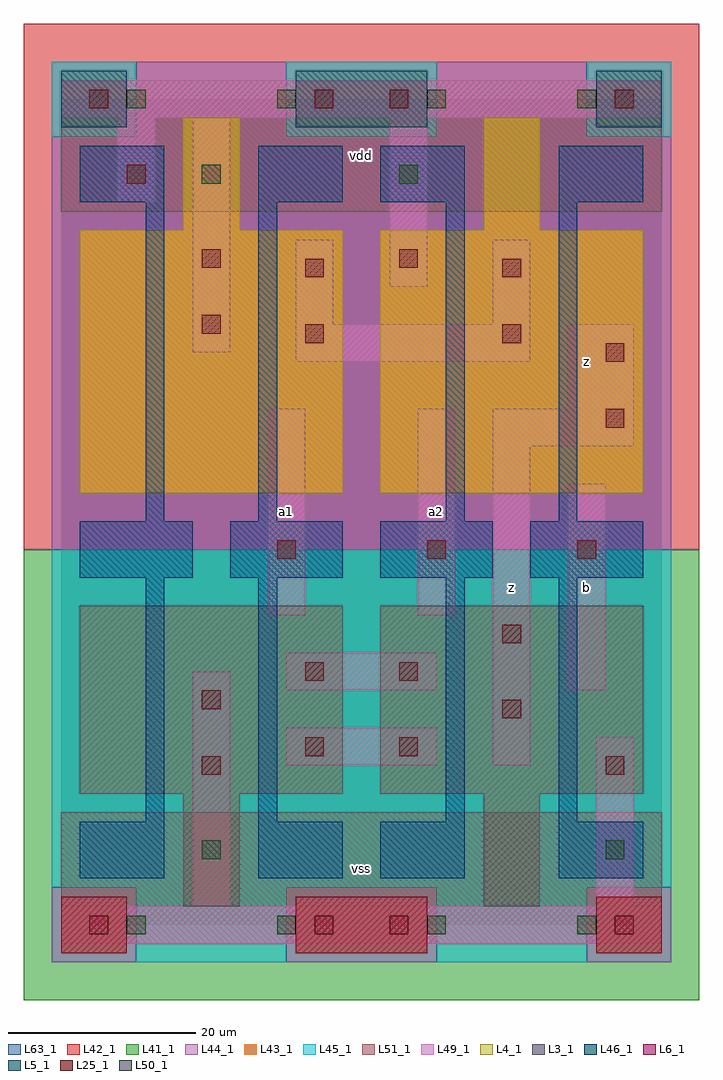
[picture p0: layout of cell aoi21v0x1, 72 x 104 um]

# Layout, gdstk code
import gdstk
lib = gdstk.Library(unit=1e-6, precision=1e-09)
def R(c, l, rs):  # rectangles x0, y0, x1, y1
    for r in rs: c.add(gdstk.rectangle(r[:2], r[2:], *l))
def A(c, l, x, y, w, h, nx, ny, dx, dy):  # array of equal rectangles
    R(c, l, [(x+i*dx, y+j*dy, x+i*dx+w, y+j*dy+h) for i in range(nx) for j in range(ny)])
L3_1 = (3, 1)
L4_1 = (4, 1)
L5_1 = (5, 1)
L6_1 = (6, 1)
L25_1 = (25, 1)
L41_1 = (41, 1)
L42_1 = (42, 1)
L43_1 = (43, 1)
L44_1 = (44, 1)
L45_1 = (45, 1)
L46_1 = (46, 1)
L49_1 = (49, 1)
L50_1 = (50, 1)
L51_1 = (51, 1)
L63_1 = (63, 1)

aoi21v0x1 = lib.new_cell('aoi21v0x1')
R(aoi21v0x1, L3_1, [(13,2,19,14), (45,2,51,14), (2,14,30,34), (34,14,62,34)])
R(aoi21v0x1, L4_1, [(2,46,30,74), (34,46,62,74), (13,74,19,86), (45,74,51,86)])
R(aoi21v0x1, L5_1, [(0,85,7,91), (25,85,39,91), (57,85,64,91)])
R(aoi21v0x1, L6_1, [(0,-3,7,3), (0,-3,7,3), (25,-3,39,3), (25,-3,39,3), (57,-3,64,3), (57,-3,64,3)])
A(aoi21v0x1, L25_1, 23, 39, 2, 2, 3, 1, 16, 0)
R(aoi21v0x1, L25_1, [(3,-1,5,1), (27,-1,29,1), (35,-1,37,1), (59,-1,61,1), (15,16,17,18), (58,16,60,18), (26,18,28,20), (36,18,38,20), (47,22,49,24), (15,23,17,25), (26,26,28,28), (36,26,38,28), (47,30,49,32), (58,53,60,55), (58,60,60,62), (26,62,28,64), (47,62,49,64), (15,63,17,65), (26,69,28,71), (47,69,49,71), (15,70,17,72), (36,70,38,72), (7,79,9,81), (3,87,5,89), (27,87,29,89), (35,87,37,89), (59,87,61,89)])
R(aoi21v0x1, L41_1, [(-4,-8,68,40)])
R(aoi21v0x1, L42_1, [(-4,40,68,96)])
R(aoi21v0x1, L43_1, [(0,-3,7,3), (25,-3,39,3), (57,-3,64,3), (13,2,19,14), (45,2,51,14), (2,14,30,34), (34,14,62,34), (2,46,30,74), (34,46,62,74), (13,74,19,86), (45,74,51,86), (0,85,7,91), (25,85,39,91), (57,85,64,91)])
R(aoi21v0x1, L44_1, [(-1,-4,8,4), (24,-4,40,4), (56,-4,65,4), (-1,40,65,84), (8,84,24,92), (40,84,56,92)])
R(aoi21v0x1, L45_1, [(8,-4,24,4), (40,-4,56,4), (-1,4,65,40), (-1,84,8,92), (24,84,40,92), (56,84,65,92)])
A(aoi21v0x1, L46_1, 2, 37, 12, 6, 4, 1, 16, 0)
R(aoi21v0x1, L46_1, [(2,5,11,11), (21,5,30,11), (34,5,43,11), (53,5,62,11), (9,11,11,37), (21,11,23,37), (41,11,43,37), (53,11,55,37), (9,43,11,77), (21,43,23,77), (41,43,43,77), (53,43,55,77), (2,77,11,83), (21,77,30,83), (34,77,43,83), (53,77,62,83)])
R(aoi21v0x1, L49_1, [(0,-2,64,2), (14,2,18,27), (57,2,61,20), (24,17,40,21), (46,17,50,51), (24,25,40,29), (54,25,58,47), (22,33,26,55), (38,33,42,55), (46,51,61,55), (54,55,61,64), (25,60,50,64), (14,61,18,86), (25,64,29,73), (46,64,50,73), (35,68,39,86), (6,77,10,86), (0,86,64,90)])
A(aoi21v0x1, L50_1, 7, -1, 2, 2, 4, 2, 16, 88)
R(aoi21v0x1, L50_1, [(15,7,17,9), (58,7,60,9), (15,79,17,81), (36,79,38,81)])
R(aoi21v0x1, L51_1, [(0,-2,64,12), (0,76,64,90)])
R(aoi21v0x1, L63_1, [(0,0,64,88)])
aoi21v0x1.add(gdstk.Label('a1', (24,44), layer=49, texttype=1))
aoi21v0x1.add(gdstk.Label('a2', (40,44), layer=49, texttype=1))
aoi21v0x1.add(gdstk.Label('z', (48,36), layer=49, texttype=1))
aoi21v0x1.add(gdstk.Label('b', (56,36), layer=49, texttype=1))
aoi21v0x1.add(gdstk.Label('z', (56,60), layer=49, texttype=1))
aoi21v0x1.add(gdstk.Label('vss', (32,6), layer=51, texttype=1))
aoi21v0x1.add(gdstk.Label('vdd', (32,82), layer=51, texttype=1))

lib.write_gds('aoi21v0x1.gds')
